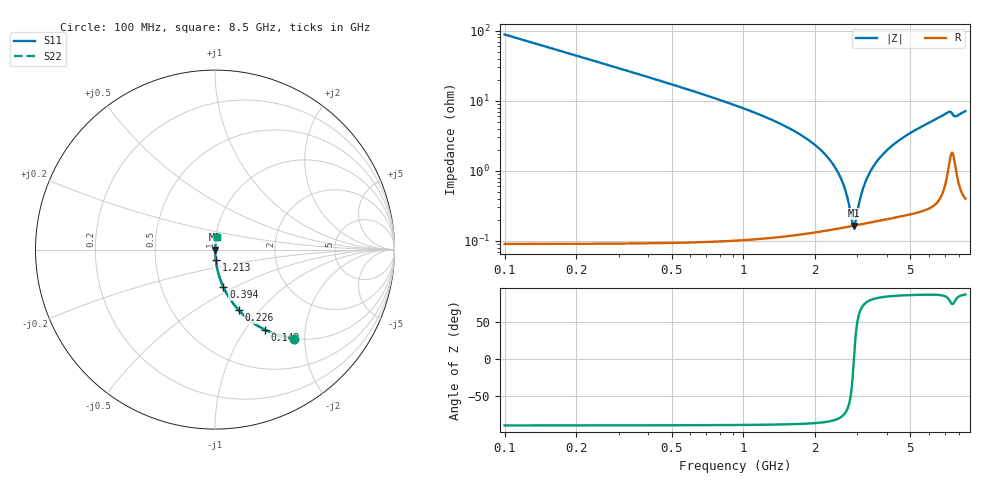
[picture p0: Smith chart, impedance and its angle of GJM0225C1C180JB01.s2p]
!Murata Part Number: GJM0225C1C180JB01
!These Parameters are Measured in Series Mode Connection
!  o--ll--o
!Port1  Port2
!  o------o
!Operation Temp=25[C], DC Bias Voltage=0[V]
!Freq. Start=100[MHz] Stop=8500[MHz] 401[Steps]
# Hz S RI R 50
!Freq.(Hz) S11(Real) S11(Imag) S21(Real) S21(Imag) S12(Real) S12(Imag) S22(Real) S22(Imag)
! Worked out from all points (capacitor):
!   401 points, 100 MHz to 8.5 GHz, reference 50 ohm
!   read as one part in series: C = 18 pF near 142 MHz
!   lowest |Z| = 165 mohm at 2.893 GHz (marker M1)
!   series resonance near 2.903 GHz, so ESL is about 170 pH
!   S11 on the Smith chart (normalised r, x): 100 MHz: 1.00, -1.77; 142 MHz: 1.00, -1.24; 226 MHz: 1.00, -0.78; 394 MHz: 1.00, -0.44; 1.213 GHz: 1.00, -0.12; 8.5 GHz: 1.01, +0.14
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1e8  0.4382 -0.4957  0.5618 0.4957  0.5618 0.4957  0.4382 -0.4957
1.42e8  0.2787 -0.4476  0.7213 0.4476  0.7213 0.4476  0.2787 -0.4476
2.26e8  0.1319 -0.3372  0.8681 0.3372  0.8681 0.3372  0.1319 -0.3372
3.94e8  0.0471 -0.2097  0.9529 0.2097  0.9529 0.2097  0.0471 -0.2097
7.09e8  0.0145 -0.1154  0.9855 0.1154  0.9855 0.1154  0.0145 -0.1154
1.213e9  0.00465 -0.0597  0.9953 0.0597  0.9953 0.0597  0.00465 -0.0597
1.507e9  0.00297 -0.0426  0.997 0.0426  0.997 0.0426  0.00297 -0.0426
2.074e9  0.00177 -0.0207  0.9982 0.0207  0.9982 0.0207  0.00177 -0.0207
2.431e9  0.00158 -0.0108  0.9984 0.0108  0.9984 0.0108  0.00158 -0.0108
2.662e9  0.00158 -0.00522  0.9984 0.00522  0.9984 0.00522  0.00158 -0.00522
2.851e9  0.00162 -0.00108  0.9984 0.00108  0.9984 0.00108  0.00162 -0.00108
2.893e9  0.00164 -0.000198  0.9984 0.000198  0.9984 0.000198  0.00164 -0.000198
2.914e9  0.00164 0.000238  0.9984 -0.000238  0.9984 -0.000238  0.00164 0.000238
3.145e9  0.00175 0.00484  0.9982 -0.00484  0.9982 -0.00484  0.00175 0.00484
3.376e9  0.00189 0.00913  0.9981 -0.00913  0.9981 -0.00913  0.00189 0.00913
3.754e9  0.00219 0.0156  0.9978 -0.0156  0.9978 -0.0156  0.00219 0.0156
4.3e9  0.00272 0.0242  0.9973 -0.0242  0.9973 -0.0242  0.00272 0.0242
5.707e9  0.00464 0.0441  0.9954 -0.0441  0.9954 -0.0441  0.00464 0.0441
7.114e9  0.0124 0.0654  0.9876 -0.0654  0.9876 -0.0654  0.0124 0.0654
7.345e9  0.0195 0.0656  0.9805 -0.0656  0.9805 -0.0656  0.0195 0.0656
7.723e9  0.0145 0.0572  0.9855 -0.0572  0.9855 -0.0572  0.0145 0.0572
8.5e9  0.00894 0.0701  0.9911 -0.0701  0.9911 -0.0701  0.00894 0.0701
